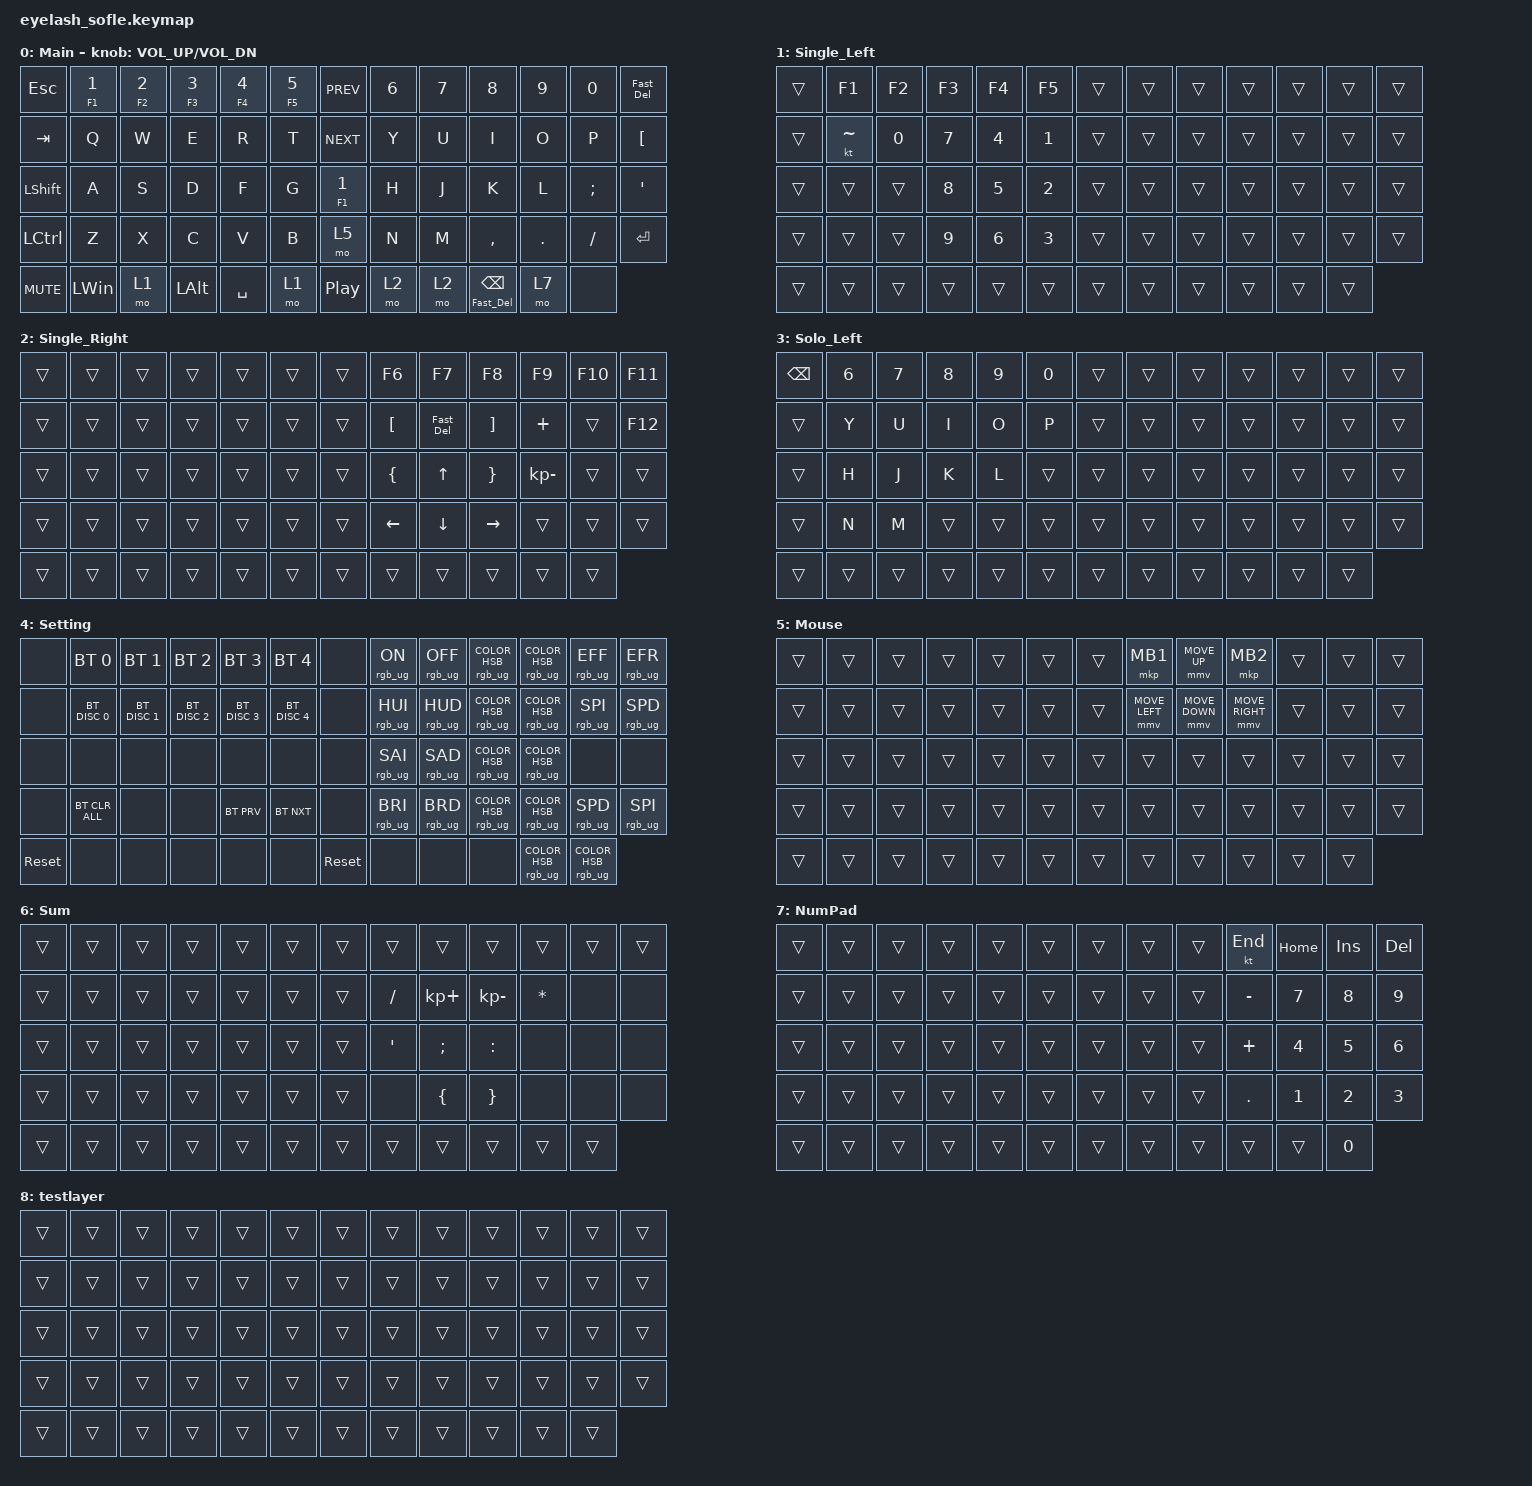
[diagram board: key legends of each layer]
#define ZMK_POINTING_DEFAULT_MOVE_VAL 1200  // 600
#define ZMK_POINTING_DEFAULT_SCRL_VAL 25   // 10

#include <input/processors.dtsi>
#include <zephyr/dt-bindings/input/input-event-codes.h>
#include <behaviors.dtsi>
#include <dt-bindings/zmk/bt.h>
#include <dt-bindings/zmk/keys.h>
#include <dt-bindings/zmk/pointing.h>
#include <dt-bindings/zmk/rgb.h>

&mmv_input_listener { input-processors = <&zip_xy_scaler 2 1>; };

&msc_input_listener { input-processors = <&zip_scroll_scaler 2 1>; };

&msc {
    acceleration-exponent = <1>;      // 0
    time-to-max-speed-ms = <100>;       // 300
    delay-ms = <0>;                   // 0
};

&mmv {
    time-to-max-speed-ms = <500>;
    acceleration-exponent = <1>;
    trigger-period-ms = <16>;
};

/ {
    scroll_encoder: scroll_encoder {
        compatible = "zmk,behavior-sensor-rotate";
        #sensor-binding-cells = <0>;
        bindings = <&msc SCRL_DOWN>, <&msc SCRL_UP>;

        tap-ms = <100>;
    };

    Hold_tap: Hold_tap {
        compatible = "zmk,behavior-hold-tap";
        label = "HOLD_TAP";
        bindings = <&kp>, <&kp>;

        #binding-cells = <2>;
        tapping-term-ms = <320>;
        quick-tap-ms = <24>;
        flavor = "tap-unless-interrupted";
    };

    HoldDel: HoldDel {
        compatible = "zmk,behavior-hold-tap";
        label = "HOLDDEL";
        bindings = <&Fast_Del>, <&kp>;

        #binding-cells = <2>;
        tapping-term-ms = <420>;
    };

    behaviors {
    };

    combos {
        compatible = "zmk,combos";

        Setting {
            bindings = <&to 4>;
            key-positions = <39 0>;
            timeout-ms = <45>;
            layers = <0>;
        };

        Exit_setting {
            bindings = <&to 0>;
            key-positions = <39 0>;
            timeout-ms = <45>;
            layers = <4>;
        };

        ChangeLang {
            bindings = <&kt LA(LSHFT)>;
            key-positions = <54 3>;
            layers = <0>;
            require-prior-idle-ms = <150>;
            slow-release;
        };
    };

    macros {
        Fast_Del: Fast_Del {
            compatible = "zmk,behavior-macro";
            #binding-cells = <0>;
            bindings = <&kp LS(LC(LEFT_ARROW)) &kp BACKSPACE>, <&macro_tap>;

            label = "FAST_DEL";
        };
    };

    keymap {
        compatible = "zmk,keymap";

        Main {
            bindings = <
&kp ESC     &Hold_tap F1 NUMBER_1  &Hold_tap F2 NUMBER_2  &Hold_tap F3 NUMBER_3  &Hold_tap F4 NUMBER_4  &Hold_tap F5 N5    &kp C_PREV             &kp N6  &kp N7  &kp N8                &kp N9   &kp N0     &Fast_Del
&kp TAB     &kp Q                  &kp W                  &kp E                  &kp R                  &kp T              &kp C_NEXT             &kp Y   &kp U   &kp I                 &kp O    &kp P      &kp LEFT_BRACKET
&kp LSHFT   &kp A                  &kp S                  &kp D                  &kp F                  &kp G              &Hold_tap F1 NUMBER_1  &kp H   &kp J   &kp K                 &kp L    &kp SEMI   &kp APOS
&kp LCTRL   &kp Z                  &kp X                  &kp C                  &kp V                  &kp B              &mo 5                  &kp N   &kp M   &kp COMMA             &kp DOT  &kp SLASH  &kp ENTER
&kp C_MUTE  &kp LEFT_WIN           &mo 1                  &kp LALT               &kp SPACE              &mo 1              &kp C_PP               &mo 2   &mo 2   &HoldDel 0 BACKSPACE  &mo 7    &none
            >;

            sensor-bindings = <&inc_dec_kp C_VOLUME_UP C_VOL_DN>;
            display-name = "Main";
        };

        Single_Left {
            bindings = <
&trans  &kp F1     &kp F2  &kp F3  &kp F4  &kp F5    &trans  &trans  &trans  &trans  &trans  &trans  &trans
&trans  &kt TILDE  &kp N0  &kp N7  &kp N4  &kp N1    &trans  &trans  &trans  &trans  &trans  &trans  &trans
&trans  &trans     &trans  &kp N8  &kp N5  &kp N2    &trans  &trans  &trans  &trans  &trans  &trans  &trans
&trans  &trans     &trans  &kp N9  &kp N6  &kp N3    &trans  &trans  &trans  &trans  &trans  &trans  &trans
&trans  &trans     &trans  &trans  &trans  &trans    &trans  &trans  &trans  &trans  &trans  &trans
            >;

            label = "Single_Left";
        };

        Single_Right {
            bindings = <
&trans  &trans  &trans  &trans  &trans  &trans    &trans  &kp F6            &kp F7          &kp F8             &kp F9        &kp F10  &kp F11
&trans  &trans  &trans  &trans  &trans  &trans    &trans  &kp LEFT_BRACKET  &Fast_Del       &kp RIGHT_BRACKET  &kp PLUS      &trans   &kp F12
&trans  &trans  &trans  &trans  &trans  &trans    &trans  &kp LEFT_BRACE    &kp UP_ARROW    &kp RIGHT_BRACE    &kp KP_MINUS  &trans   &trans
&trans  &trans  &trans  &trans  &trans  &trans    &trans  &kp LEFT_ARROW    &kp DOWN_ARROW  &kp RIGHT_ARROW    &trans        &trans   &trans
&trans  &trans  &trans  &trans  &trans  &trans    &trans  &trans            &trans          &trans             &trans        &trans
            >;

            label = "Single_Right";
        };

        Solo_Left {
            bindings = <
&kp BSPC  &kp N6  &kp N7  &kp N8  &kp N9  &kp N0    &trans  &trans  &trans  &trans  &trans  &trans  &trans
&trans    &kp Y   &kp U   &kp I   &kp O   &kp P     &trans  &trans  &trans  &trans  &trans  &trans  &trans
&trans    &kp H   &kp J   &kp K   &kp L   &trans    &trans  &trans  &trans  &trans  &trans  &trans  &trans
&trans    &kp N   &kp M   &trans  &trans  &trans    &trans  &trans  &trans  &trans  &trans  &trans  &trans
&trans    &trans  &trans  &trans  &trans  &trans    &trans  &trans  &trans  &trans  &trans  &trans
            >;

            label = "Solo_Left";
        };

        Setting {
            bindings = <
&none       &bt BT_SEL 0    &bt BT_SEL 1   &bt BT_SEL 2   &bt BT_SEL 3   &bt BT_SEL 4     &none       &rgb_ug RGB_ON   &rgb_ug RGB_OFF  &rgb_ug RGB_COLOR_HSB(0,100,50)   &rgb_ug RGB_COLOR_HSB(189,100,58)  &rgb_ug RGB_EFF                    &rgb_ug RGB_EFR
&none       &bt BT_DISC 0   &bt BT_DISC 1  &bt BT_DISC 2  &bt BT_DISC 3  &bt BT_DISC 4    &none       &rgb_ug RGB_HUI  &rgb_ug RGB_HUD  &rgb_ug RGB_COLOR_HSB(28,100,59)  &rgb_ug RGB_COLOR_HSB(217,100,60)  &rgb_ug RGB_SPI                    &rgb_ug RGB_SPD
&none       &none           &none          &none          &none          &none            &none       &rgb_ug RGB_SAI  &rgb_ug RGB_SAD  &rgb_ug RGB_COLOR_HSB(53,98,58)   &rgb_ug RGB_COLOR_HSB(279,100,59)  &none                              &none
&none       &bt BT_CLR_ALL  &none          &none          &bt BT_PRV     &bt BT_NXT       &none       &rgb_ug RGB_BRI  &rgb_ug RGB_BRD  &rgb_ug RGB_COLOR_HSB(82,98,59)   &rgb_ug RGB_COLOR_HSB(306,100,57)  &rgb_ug RGB_SPD                    &rgb_ug RGB_SPI
&sys_reset  &none           &none          &none          &none          &none            &sys_reset  &none            &none            &none                             &rgb_ug RGB_COLOR_HSB(159,100,60)  &rgb_ug RGB_COLOR_HSB(340,100,58)
            >;

            label = "Setting";
        };

        Mouse {
            bindings = <
&trans  &trans  &trans  &trans  &trans  &trans    &trans  &mkp MB1        &mmv MOVE_UP    &mkp MB2         &trans  &trans  &trans
&trans  &trans  &trans  &trans  &trans  &trans    &trans  &mmv MOVE_LEFT  &mmv MOVE_DOWN  &mmv MOVE_RIGHT  &trans  &trans  &trans
&trans  &trans  &trans  &trans  &trans  &trans    &trans  &trans          &trans          &trans           &trans  &trans  &trans
&trans  &trans  &trans  &trans  &trans  &trans    &trans  &trans          &trans          &trans           &trans  &trans  &trans
&trans  &trans  &trans  &trans  &trans  &trans    &trans  &trans          &trans          &trans           &trans  &trans
            >;

            label = "Mouse";
        };

        Sum {
            bindings = <
&trans  &trans  &trans  &trans  &trans  &trans    &trans  &trans            &trans          &trans           &trans        &trans  &trans
&trans  &trans  &trans  &trans  &trans  &trans    &trans  &kp SLASH         &kp KP_PLUS     &kp KP_MINUS     &kp ASTERISK  &none   &none
&trans  &trans  &trans  &trans  &trans  &trans    &trans  &kp SINGLE_QUOTE  &kp SEMICOLON   &kp COLON        &none         &none   &none
&trans  &trans  &trans  &trans  &trans  &trans    &trans  &none             &kp LEFT_BRACE  &kp RIGHT_BRACE  &none         &none   &none
&trans  &trans  &trans  &trans  &trans  &trans    &trans  &trans            &trans          &trans           &trans        &trans
            >;

            label = "Sum";
        };

        NumPad {
            bindings = <
&trans  &trans  &trans  &trans  &trans  &trans    &trans  &trans  &trans  &kt END     &kp HOME  &kp INSERT  &kp DEL
&trans  &trans  &trans  &trans  &trans  &trans    &trans  &trans  &trans  &kp MINUS   &kp N7    &kp N8      &kp N9
&trans  &trans  &trans  &trans  &trans  &trans    &trans  &trans  &trans  &kp PLUS    &kp N4    &kp N5      &kp N6
&trans  &trans  &trans  &trans  &trans  &trans    &trans  &trans  &trans  &kp PERIOD  &kp N1    &kp N2      &kp N3
&trans  &trans  &trans  &trans  &trans  &trans    &trans  &trans  &trans  &trans      &trans    &kp N0
            >;

            label = "NumPad";
        };

        testlayer {
            bindings = <
&trans  &trans  &trans  &trans  &trans  &trans    &trans  &trans  &trans  &trans  &trans  &trans  &trans
&trans  &trans  &trans  &trans  &trans  &trans    &trans  &trans  &trans  &trans  &trans  &trans  &trans
&trans  &trans  &trans  &trans  &trans  &trans    &trans  &trans  &trans  &trans  &trans  &trans  &trans
&trans  &trans  &trans  &trans  &trans  &trans    &trans  &trans  &trans  &trans  &trans  &trans  &trans
&trans  &trans  &trans  &trans  &trans  &trans    &trans  &trans  &trans  &trans  &trans  &trans
            >;
        };
    };
};
